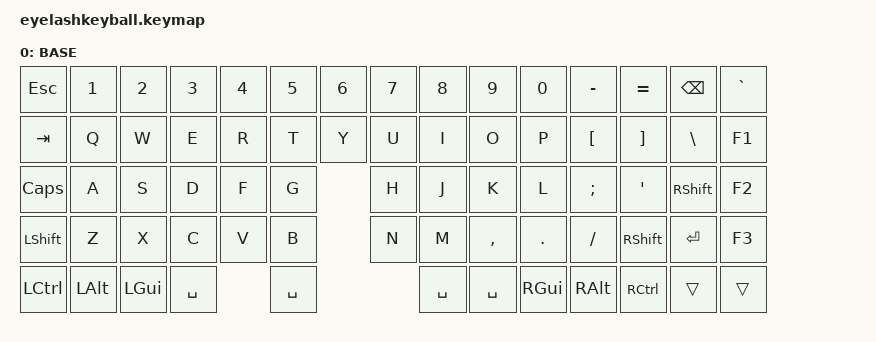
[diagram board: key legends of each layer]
#define BASE 0
#define LOWER 1
#define MOUSE_KEYS 2
#define MOUSE_TP 3
#define MOUSE_TP_SET 4

#include <input/processors.dtsi>
#include <behaviors.dtsi>
#include <dt-bindings/zmk/bt.h>
#include <dt-bindings/zmk/keys.h>
#include <dt-bindings/zmk/pointing.h>


/*
 * Defines to enable/disable features
 *
 * These defines allow us to conditionally enable and disable parts of the keymap config.
 *
 * For example, if we decide to build the firmware without the mouse features, we can
 * disable all the config options that rely on those forks and modules without having
 * to edit the entire keymap file manually every time.
 */

#define HAS_MOUSE_KEYS
#define HAS_MOUSE_TP

#ifdef HAS_MOUSE_KEYS
  #include <dt-bindings/zmk/mouse.h>
  #include <behaviors/mouse_keys.dtsi>
#endif  // HAS_MOUSE_KEYS

#ifdef HAS_MOUSE_TP
  // We store the trackpoint settings in a separate file
  // to make organization a little easier.
  #include "include/mouse_tp.dtsi"
#endif  // HAS_MOUSE_TP



// Adjust layer keys based on enabled features.
//
// This prevents build errors when we build the firmware
// without the mouse keys PR or the TP module.
#ifdef HAS_MOUSE_KEYS
  #define U_THUMB_INNER &mo MOUSE_KEYS
#else
  #define U_THUMB_INNER &none
#endif  // HAS_MOUSE_KEYS

#ifdef HAS_MOUSE_TP
  #define U_TOG_TP_SET &tog MOUSE_TP_SET
#else
  #define U_TOG_TP_SET &none
#endif  // HAS_MOUSE_TP
/ {
    behaviors {

        ltq: ltq {
            compatible = "zmk,behavior-hold-tap";
            label = "LTQ";
            bindings = <&mo>, <&kp>;

            #binding-cells = <2>;
            tapping-term-ms = <200>;
            quick-tap-ms = <180>;
        };
    };

    combos {
        compatible = "zmk,combos";

        flash {
            bindings = <&bootloader>;
            key-positions = <0 11>;
        };
    };

    keymap {
        compatible = "zmk,keymap";


        BASE {
            bindings = <
&kp ESC    &kp N1    &kp N2    &kp N3     &kp N4  &kp N5     &kp N6      &kp N7  &kp N8     &kp N9     &kp N0    &kp MINUS  &kp EQUAL  &kp BSPC   &kp GRAVE
&kp TAB    &kp Q     &kp W     &kp E      &kp R   &kp T                  &kp Y   &kp U      &kp I      &kp O     &kp P      &kp LBKT   &kp RBKT   &kp BSLH   &kp F1
&kp CAPS   &kp A     &kp S     &kp D      &kp F   &kp G                  &kp H   &kp J      &kp K      &kp L     &kp SEMI   &kp APOS   &kp RSHFT  &kp F2
&kp LSHFT  &kp Z     &kp X     &kp C      &kp V   &kp B                  &kp N   &kp M      &kp COMMA  &kp DOT   &kp FSLH   &kp RSHFT  &kp ENTER  &kp F3
&kp LCTRL  &kp LALT  &kp LGUI  &kp SPACE          &kp SPACE                      &kp SPACE  &kp SPACE  &kp RGUI  &kp RALT   &kp RCTRL  &trans     &trans
            >;

            label = "BASE";
        };
    };

};
